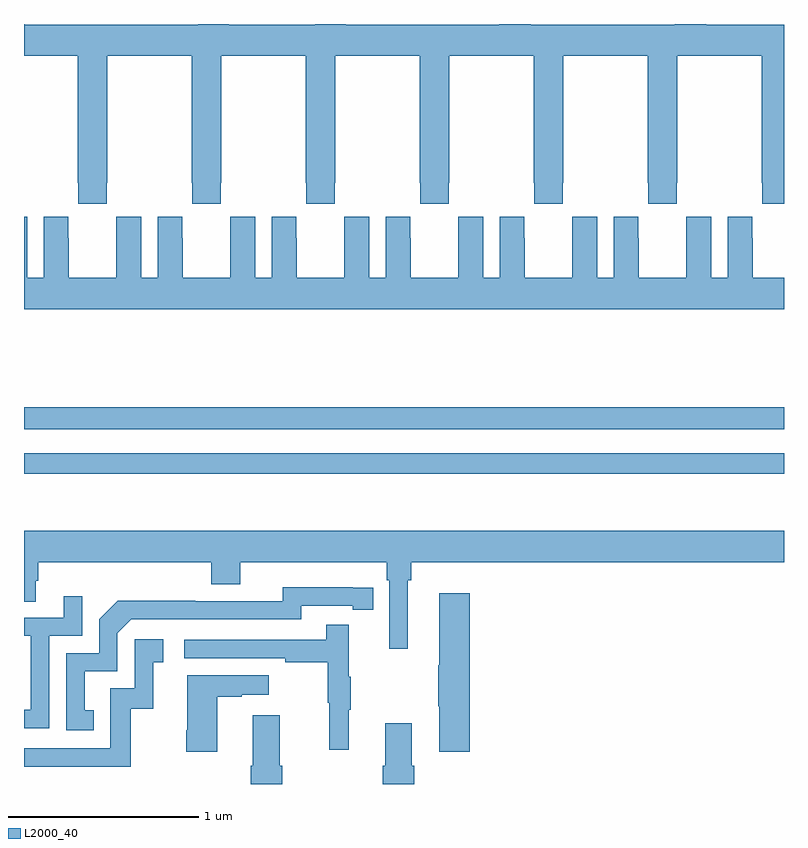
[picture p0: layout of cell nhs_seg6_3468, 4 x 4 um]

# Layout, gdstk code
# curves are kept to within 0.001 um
import gdstk
lib = gdstk.Library(unit=1e-6, precision=1e-09)
def R(c, l, rs):  # rectangles x0, y0, x1, y1
    for r in rs: c.add(gdstk.rectangle(r[:2], r[2:], *l))
def P(c, l, *ps):  # polygons
    for p in ps: c.add(gdstk.Polygon(p, *l))
L2000_40 = (2000, 40)

nhs_seg6_3468 = lib.new_cell('nhs_seg6_3468')
R(nhs_seg6_3468, L2000_40, [(315,949.134,319,949.242), (315,949.368,319,949.484)])
P(nhs_seg6_3468, L2000_40, [(315.435,950.665),(315.438,950.665),(315.438,951.332),(315.883,951.332),(315.883,950.665),(315.885,950.665),(315.885,950.553),(316.035,950.553),(316.035,950.665),(316.038,950.665),(316.038,951.332),(316.483,951.332),(316.483,950.665),(316.485,950.665),(316.485,950.553),(316.635,950.553),(316.635,950.665),(316.638,950.665),(316.638,951.332),(317.083,951.332),(317.083,950.665),(317.085,950.665),(317.085,950.553),(317.235,950.553),(317.235,950.665),(317.238,950.665),(317.238,951.332),(317.683,951.332),(317.683,950.665),(317.685,950.665),(317.685,950.553),(317.835,950.553),(317.835,950.665),(317.838,950.665),(317.838,951.332),(318.283,951.332),(318.283,950.665),(318.285,950.665),(318.285,950.553),(318.435,950.553),(318.435,950.665),(318.438,950.665),(318.438,951.332),(318.883,951.332),(318.883,950.665),(318.885,950.665),(318.885,950.553),(319,950.553),(319,951.496),(318.59,951.496),(318.59,951.5),(318.425,951.5),(318.425,951.496),(317.666,951.496),(317.666,951.5),(317.501,951.5),(317.501,951.496),(316.694,951.496),(316.694,951.5),(316.534,951.5),(316.534,951.496),(316.077,951.496),(316.077,951.5),(315.917,951.5),(315.917,951.496),(315.005,951.496),(315.005,951.5),(315,951.5),(315,951.332),(315.283,951.332),(315.283,950.665),(315.285,950.665),(315.285,950.553),(315.435,950.553)],
  [(318.834,950.372),(318.834,950.485),(318.704,950.485),(318.704,950.164),(318.616,950.164),(318.616,950.485),(318.486,950.485),(318.486,950.372),(318.485,950.372),(318.485,950.164),(318.235,950.164),(318.235,950.372),(318.234,950.372),(318.234,950.485),(318.104,950.485),(318.104,950.164),(318.016,950.164),(318.016,950.485),(317.886,950.485),(317.886,950.372),(317.885,950.372),(317.885,950.164),(317.635,950.164),(317.635,950.372),(317.634,950.372),(317.634,950.485),(317.504,950.485),(317.504,950.164),(317.416,950.164),(317.416,950.485),(317.286,950.485),(317.286,950.372),(317.285,950.372),(317.285,950.164),(317.035,950.164),(317.035,950.372),(317.034,950.372),(317.034,950.485),(316.904,950.485),(316.904,950.164),(316.816,950.164),(316.816,950.485),(316.686,950.485),(316.686,950.372),(316.685,950.372),(316.685,950.164),(316.435,950.164),(316.435,950.372),(316.434,950.372),(316.434,950.485),(316.304,950.485),(316.304,950.164),(316.216,950.164),(316.216,950.485),(316.086,950.485),(316.086,950.372),(316.085,950.372),(316.085,950.164),(315.835,950.164),(315.835,950.372),(315.834,950.372),(315.834,950.485),(315.704,950.485),(315.704,950.164),(315.616,950.164),(315.616,950.485),(315.486,950.485),(315.486,950.372),(315.485,950.372),(315.485,950.164),(315.235,950.164),(315.235,950.372),(315.234,950.372),(315.234,950.485),(315.104,950.485),(315.104,950.164),(315.016,950.164),(315.016,950.485),(315,950.485),(315,950),(319,950),(319,950.164),(318.835,950.164),(318.835,950.372)],
  [(317.02,948.572),(317.039,948.572),(317.039,948.668),(319,948.668),(319,948.832),(315,948.832),(315,948.46),(315.061,948.46),(315.061,948.57),(315.074,948.57),(315.074,948.668),(315.986,948.668),(315.986,948.551),(316.138,948.551),(316.138,948.668),(316.91,948.668),(316.91,948.572),(316.923,948.572),(316.923,948.213),(317.02,948.213)],
  [(315.368,947.889),(315.319,947.889),(315.319,948.093),(315.492,948.093),(315.492,948.294),(315.564,948.366),(316.458,948.366),(316.458,948.438),(316.73,948.438),(316.73,948.418),(316.838,948.418),(316.838,948.534),(316.362,948.535),(316.362,948.462),(315.902,948.462),(315.902,948.464),(315.494,948.464),(315.396,948.366),(315.396,948.189),(315.222,948.189),(315.222,947.784),(315.368,947.784)],
  [(317.345,948.505),(317.186,948.505),(317.186,948.125),(317.179,948.125),(317.179,947.908),(317.186,947.908),(317.186,947.67),(317.345,947.67)],
  [(315.132,948.279),(315.306,948.279),(315.306,948.487),(315.209,948.487),(315.209,948.375),(315,948.375),(315,948.279),(315.036,948.279),(315.036,947.89),(315,947.89),(315,947.793),(315.132,947.793)],
  [(316.709,947.891),(316.72,947.891),(316.72,948.065),(316.709,948.065),(316.709,948.337),(316.591,948.337),(316.591,948.258),(315.843,948.258),(315.843,948.162),(316.375,948.162),(316.375,948.142),(316.599,948.142),(316.599,947.928),(316.606,947.928),(316.606,947.679),(316.709,947.679)],
  [(315.562,947.895),(315.68,947.895),(315.68,948.141),(315.733,948.141),(315.733,948.262),(315.582,948.262),(315.582,948.003),(315.453,948.003),(315.453,947.688),(315,947.688),(315,947.592),(315.562,947.592)],
  [(316.018,947.959),(316.145,947.959),(316.145,947.969),(316.288,947.969),(316.288,948.073),(315.86,948.073),(315.86,947.782),(315.853,947.782),(315.853,947.67),(316.018,947.67)],
  [(317.054,947.596),(317.041,947.596),(317.041,947.821),(316.901,947.821),(316.901,947.596),(316.889,947.596),(316.889,947.5),(317.054,947.5)],
  [(316.345,947.596),(316.345,947.863),(316.205,947.863),(316.205,947.596),(316.193,947.596),(316.193,947.5),(316.358,947.5),(316.358,947.596)])

lib.write_gds('nhs_seg6_3468.gds')
